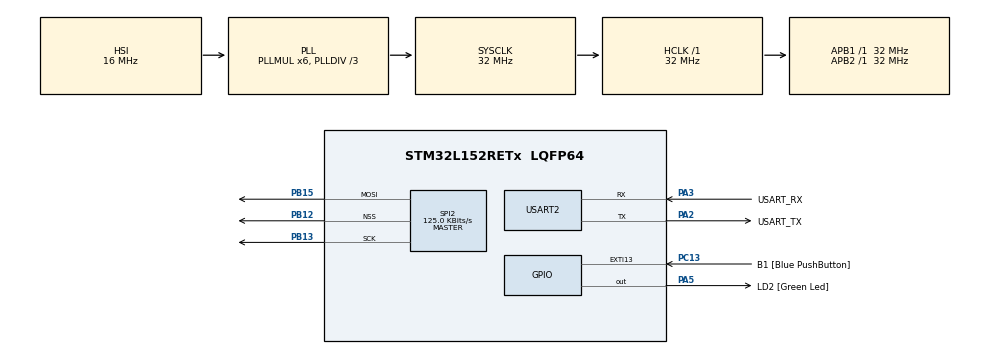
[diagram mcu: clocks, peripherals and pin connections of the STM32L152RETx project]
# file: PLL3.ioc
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Mcu.Family=STM32L1
Mcu.Name=STM32L152RETx
Mcu.Package=LQFP64
NVIC.PriorityGroup=NVIC_PRIORITYGROUP_0
PA13.GPIO_Label=TMS
PA13.Mode=Serial_Wire
PA13.Signal=SYS_JTMS-SWDIO
PA14.GPIO_Label=TCK
PA14.Mode=Serial_Wire
PA14.Signal=SYS_JTCK-SWCLK
PA2.GPIO_Label=USART_TX
PA2.Mode=Asynchronous
PA2.Signal=USART2_TX
PA3.GPIO_Label=USART_RX
PA3.Mode=Asynchronous
PA3.Signal=USART2_RX
PA5.GPIO_Label=LD2 [Green Led]
PA5.Signal=GPIO_Output
PB12.Mode=NSS_Signal_Hard_Output
PB12.Signal=SPI2_NSS
PB13.Mode=TX_Only_Simplex_Unidirect_Master
PB13.Signal=SPI2_SCK
PB15.Mode=TX_Only_Simplex_Unidirect_Master
PB15.Signal=SPI2_MOSI
PB3.GPIO_Label=SWO
PB3.Signal=SYS_JTDO-TRACESWO
PC13-WKUP2.GPIO_Label=B1 [Blue PushButton]
PC13-WKUP2.Signal=GPXTI13
PC14-OSC32_IN.Signal=RCC_OSC32_IN
PC15-OSC32_OUT.Signal=RCC_OSC32_OUT
PH0-OSC_IN.Signal=RCC_OSC_IN
PH1-OSC_OUT.Signal=RCC_OSC_OUT
ProjectManager.HeapSize=0x200
ProjectManager.StackSize=0x400
ProjectManager.TargetToolchain=TrueSTUDIO
RCC.48MHZClocksFreq_Value=48000000
RCC.AHBFreq_Value=32000000
RCC.APB1Freq_Value=32000000
RCC.APB1TimFreq_Value=32000000
RCC.APB2Freq_Value=32000000
RCC.APB2TimFreq_Value=32000000
RCC.HCLKFreq_Value=32000000
RCC.HSE_VALUE=8000000
RCC.HSI_VALUE=16000000
RCC.LSE_VALUE=32768
RCC.MSI_VALUE=2097000
RCC.PLLDIV=RCC_PLL_DIV3
RCC.PLLMUL=RCC_PLL_MUL6
RCC.RTCClockSelectionVirtual=RCC_RTCCLKSOURCE_LSE
RCC.SYSCLKFreq_VALUE=32000000
RCC.SYSCLKSource=RCC_SYSCLKSOURCE_PLLCLK
RCC.USBOutput=48000000
RCC.VCOOutputFreq_Value=96000000
SPI2.BaudRatePrescaler=SPI_BAUDRATEPRESCALER_256
SPI2.CalculateBaudRate=125.0 KBits/s
SPI2.Direction=SPI_DIRECTION_2LINES
SPI2.Mode=SPI_MODE_MASTER
SPI2.VirtualNSS=VM_NSSHARD
SPI2.VirtualType=VM_MASTER
USART2.VirtualMode=VM_ASYNC
board=NUCLEO-L152RE

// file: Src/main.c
/* USER CODE BEGIN Header */
/**
 ******************************************************************************
 * @file		   : main.c
 * @brief		  : Main program to program LMX2313U
 ******************************************************************************
 */
/* USER CODE END Header */

#include "main.h"
#include "spi.h"
#include "usart.h"
#include "gpio.h"

/* USER CODE BEGIN PTD */
typedef struct {
	struct {
		int _addr :2;
		int R_CNTR :15;
		int PD_POL :1;
		int CP0_4x :1;
		int CPo_TRI :1;
		int FoLD0 :1;
		int FoLD1 :1;
	} R;
	struct {
		int _addr :2;
		int A_CNTR :5;
		int B_CNTR :13;
		int P :1;
		int PWDN :1;
	} N;
	struct {
		int _addr :2;
		int TO_CNTR :12;
		int FoLD2 :1;
		int _reserved :7;
	} T;
} Reg_t;

/* USER CODE END PTD */

/* USER CODE BEGIN PV */
static Reg_t REGS = {
	.R = {
		.FoLD1 = 0,
		.FoLD0 = 0,
		.CPo_TRI = 0,
		.CP0_4x = 0,
		.PD_POL = 0,
		.R_CNTR = 0,
		._addr = 0b00
	},
	.N = {
		.PWDN = 0,
		.P = 0,
		.B_CNTR = 0,
		.A_CNTR = 0,
		._addr = 0b01
	},
	.T = {
		._reserved = 0,
		.FoLD2 = 0,
		.TO_CNTR = 0,
		._addr = 0b10
	}
};

static void* RegsArray[] = { &REGS.R, &REGS.N, &REGS.T, NULL };

/* USER CODE END PV */

void SystemClock_Config(void);

/* USER CODE BEGIN 0 */
static void WriteRegs(void) {
	uint32_t data;
	uint8_t SpiData[3]; // need 22 bits so we can use 24 and shift 2 too many
	for (int i = 0; RegsArray[i]; i++) {
		data = (uint32_t) RegsArray[i];

		// send MSB first
		SpiData[2] = data & 0xFF;
		SpiData[1] = (data >> 8) & 0xFF;
		SpiData[0] = (data >> 16) & 0xFF;

		HAL_SPI_Transmit(&hspi2, SpiData, 3, 1000);
	}
}
/* USER CODE END 0 */

int main(void) {

	/* MCU Configuration--------------------------------------------------------*/

	/* Reset of all peripherals, Initializes the Flash interface and the Systick. */
	HAL_Init();

	/* Configure the system clock */
	SystemClock_Config();

	/* Initialize all configured peripherals */
	MX_GPIO_Init();
	MX_SPI2_Init();
	MX_USART2_UART_Init();

	/* Infinite loop */
	while (1) {

		/* USER CODE BEGIN 3 */
		REGS.N.PWDN = 1;
		REGS.R.CPo_TRI = 1;
		WriteRegs();
		HAL_Delay(1000);
	}
	/* USER CODE END 3 */
}

void SystemClock_Config(void) {
	RCC_OscInitTypeDef RCC_OscInitStruct = { 0 };
	RCC_ClkInitTypeDef RCC_ClkInitStruct = { 0 };

	/**Configure the main internal regulator output voltage
	 */
	__HAL_PWR_VOLTAGESCALING_CONFIG(PWR_REGULATOR_VOLTAGE_SCALE1);
	/**Initializes the CPU, AHB and APB busses clocks
	 */
	RCC_OscInitStruct.OscillatorType = RCC_OSCILLATORTYPE_HSI;
	RCC_OscInitStruct.HSIState = RCC_HSI_ON;
	RCC_OscInitStruct.HSICalibrationValue = RCC_HSICALIBRATION_DEFAULT;
	RCC_OscInitStruct.PLL.PLLState = RCC_PLL_ON;
	RCC_OscInitStruct.PLL.PLLSource = RCC_PLLSOURCE_HSI;
	RCC_OscInitStruct.PLL.PLLMUL = RCC_PLL_MUL6;
	RCC_OscInitStruct.PLL.PLLDIV = RCC_PLL_DIV3;
	if (HAL_RCC_OscConfig(&RCC_OscInitStruct) != HAL_OK) {
		Error_Handler();
	}
	/**Initializes the CPU, AHB and APB busses clocks
	 */
	RCC_ClkInitStruct.ClockType = RCC_CLOCKTYPE_HCLK | RCC_CLOCKTYPE_SYSCLK
			| RCC_CLOCKTYPE_PCLK1 | RCC_CLOCKTYPE_PCLK2;
	RCC_ClkInitStruct.SYSCLKSource = RCC_SYSCLKSOURCE_PLLCLK;
	RCC_ClkInitStruct.AHBCLKDivider = RCC_SYSCLK_DIV1;
	RCC_ClkInitStruct.APB1CLKDivider = RCC_HCLK_DIV1;
	RCC_ClkInitStruct.APB2CLKDivider = RCC_HCLK_DIV1;

	if (HAL_RCC_ClockConfig(&RCC_ClkInitStruct, FLASH_LATENCY_1) != HAL_OK) {
		Error_Handler();
	}
}

void Error_Handler(void) {
}

/************************ (C) COPYRIGHT STMicroelectronics *****END OF FILE****/
